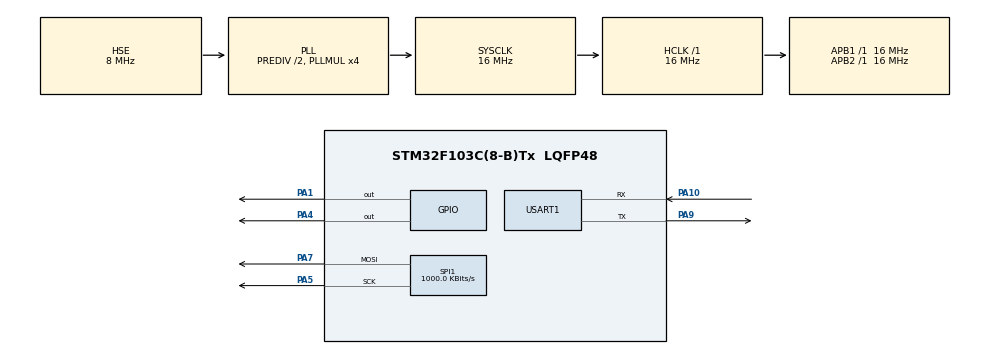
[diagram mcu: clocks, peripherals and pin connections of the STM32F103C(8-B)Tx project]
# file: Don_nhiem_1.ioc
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Mcu.Family=STM32F1
Mcu.Name=STM32F103C(8-B)Tx
Mcu.Package=LQFP48
NVIC.PriorityGroup=NVIC_PRIORITYGROUP_4
NVIC.USART1_IRQn=true\:0\:0\:false\:false\:true\:true\:true\:true
PA1.Signal=GPIO_Output
PA10.Mode=Asynchronous
PA10.Signal=USART1_RX
PA13.Mode=Serial_Wire
PA13.Signal=SYS_JTMS-SWDIO
PA14.Mode=Serial_Wire
PA14.Signal=SYS_JTCK-SWCLK
PA4.GPIO_Speed=GPIO_SPEED_FREQ_HIGH
PA4.Signal=GPIO_Output
PA5.Mode=TX_Only_Simplex_Unidirect_Master
PA5.Signal=SPI1_SCK
PA7.Mode=TX_Only_Simplex_Unidirect_Master
PA7.Signal=SPI1_MOSI
PA9.Mode=Asynchronous
PA9.Signal=USART1_TX
PD0-OSC_IN.Mode=HSE-External-Oscillator
PD0-OSC_IN.Signal=RCC_OSC_IN
PD1-OSC_OUT.Mode=HSE-External-Oscillator
PD1-OSC_OUT.Signal=RCC_OSC_OUT
ProjectManager.HeapSize=0x200
ProjectManager.StackSize=0x400
ProjectManager.TargetToolchain=STM32CubeIDE
RCC.AHBFreq_Value=16000000
RCC.APB1Freq_Value=16000000
RCC.APB1TimFreq_Value=16000000
RCC.APB2Freq_Value=16000000
RCC.APB2TimFreq_Value=16000000
RCC.HCLKFreq_Value=16000000
RCC.HSEDivPLL=RCC_HSE_PREDIV_DIV2
RCC.PLLMUL=RCC_PLL_MUL4
RCC.PLLSourceVirtual=RCC_PLLSOURCE_HSE
RCC.SYSCLKFreq_VALUE=16000000
RCC.SYSCLKSource=RCC_SYSCLKSOURCE_PLLCLK
RCC.USBFreq_Value=16000000
SPI1.BaudRatePrescaler=SPI_BAUDRATEPRESCALER_16
SPI1.CalculateBaudRate=1000.0 KBits/s
SPI1.Direction=SPI_DIRECTION_2LINES
SPI1.Mode=SPI_MODE_MASTER
SPI1.VirtualType=VM_MASTER
TIM1.Prescaler=15
USART1.VirtualMode=VM_ASYNC
VP_TIM1_VS_ClockSourceINT.Mode=Internal
board=custom

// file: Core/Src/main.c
/* USER CODE BEGIN Header */
/**
  ******************************************************************************
  * @file           : main.c
  * @brief          : Main program body
  ******************************************************************************
  * @attention
  *
  * Copyright (c) 2025 STMicroelectronics.
  * All rights reserved.
  *
  * This software is licensed under terms that can be found in the LICENSE file
  * in the root directory of this software component.
  * If no LICENSE file comes with this software, it is provided AS-IS.
  *
  ******************************************************************************
  */
/* USER CODE END Header */
#include "main.h"

/* USER CODE BEGIN Includes */
#include "stm32f1xx_hal.h"
#include "stdio.h"
#include "string.h"
/* USER CODE END Includes */

/* USER CODE BEGIN PD */
 #define DHT11_PORT  GPIOA
 #define DHT11_PIN   GPIO_PIN_1
/* USER CODE END PD */

SPI_HandleTypeDef hspi1;

TIM_HandleTypeDef htim1;

UART_HandleTypeDef huart1;

void SystemClock_Config(void);
static void MX_GPIO_Init(void);
static void MX_SPI1_Init(void);
static void MX_TIM1_Init(void);
static void MX_USART1_UART_Init(void);

/* USER CODE BEGIN 0 */
uint8_t system_running = 1;  // Biến trạng thái: 1 là chạy, 0 là dừng
uint8_t received_data;       // Biến lưu dữ liệu nhận được qua UART

void HAL_UART_RxCpltCallback(UART_HandleTypeDef *huart) {
    if (huart->Instance == USART1) {  // Kiểm tra UART1
        if (received_data == '1') {
            system_running = 1;  // Hệ thống chạy
            HAL_UART_Transmit(&huart1, (uint8_t *)" System Running\r\n", 16, HAL_MAX_DELAY);
        } else if (received_data == '0') {
            system_running = 0;  // Hệ thống dừng
            HAL_UART_Transmit(&huart1, (uint8_t *)" System Stopped\r\n", 16, HAL_MAX_DELAY);
        }
        // Tiếp tục nhận dữ liệu qua UART
        HAL_UART_Receive_IT(&huart1, &received_data, 1);
    }
}

uint8_t digit_codes[10] = {
    0xC0, // 0
    0xF9, // 1
    0xA4, // 2
    0xB0, // 3
    0x99, // 4
    0x92, // 5
    0x82, // 6
    0xF8, // 7
    0x80, // 8
    0x90  // 9
};

uint8_t dp[10] = {
    0x40, // 0
    0x79, // 1
    0x24, // 2
    0x30, // 3
    0x19, // 4
    0x12, // 5
    0x02, // 6
    0x78, // 7
    0x00, // 8
    0x10  // 9
};

void ConvertNumberToDigits(uint16_t number, uint8_t *digits){
    digits[3] = digit_codes[number % 10];
    digits[2] = digit_codes[(number / 10) % 10];
    digits[1] = dp[(number / 100) % 10];
    digits[0] = digit_codes[(number / 1000) % 10];
}

void SendToLED_SPI(uint8_t* digits){
    // LOAD xuống thấp trước khi gửi dữ liệu
    HAL_GPIO_WritePin(GPIOA, GPIO_PIN_4, GPIO_PIN_RESET);

    // Gửi lần lượt 4 byte (4 chữ số) qua SPI
    for (int i = 0; i < 4; i++){
        HAL_SPI_Transmit(&hspi1, &digits[3 - i], 1, HAL_MAX_DELAY); // Gửi byte từ trái sang phải
    }

    // LOAD lên cao để chốt dữ liệu hiển thị
    HAL_GPIO_WritePin(GPIOA, GPIO_PIN_4, GPIO_PIN_SET);
}

void delay(uint16_t time){
	 __HAL_TIM_SET_COUNTER(&htim1,0);
	 while((__HAL_TIM_GET_COUNTER(&htim1)) < time);
 }

 uint8_t R1, R2, T1, T2;
 uint16_t sum;
 float RH, TEMP;
 float Temperature = 0;
 float Humidity = 0;
 uint8_t Presence = 0;

 void SET_PIN_OUTPUT (GPIO_TypeDef *GPIOx, uint16_t GPIO_Pin){
  GPIO_InitTypeDef GPIO_InitStruct = {0};
  /*Configure GPIO pin : PA1 */
  GPIO_InitStruct.Pin = GPIO_Pin;
  GPIO_InitStruct.Mode = GPIO_MODE_OUTPUT_PP;
  GPIO_InitStruct.Pull = GPIO_NOPULL;
  GPIO_InitStruct.Speed = GPIO_SPEED_FREQ_LOW;
  HAL_GPIO_Init(GPIOA, &GPIO_InitStruct);
 }

 void SET_PIN_INPUT (GPIO_TypeDef *GPIOx, uint16_t GPIO_Pin){
	GPIO_InitTypeDef GPIO_InitStruct = {0};
  /*Configure GPIO pin : PA1 */
  GPIO_InitStruct.Pin = GPIO_Pin;
  GPIO_InitStruct.Mode = GPIO_MODE_INPUT;
  GPIO_InitStruct.Pull = GPIO_NOPULL;
  HAL_GPIO_Init(GPIOA, &GPIO_InitStruct);
 }

 void DHT11_Start (void){
 	SET_PIN_OUTPUT(DHT11_PORT, DHT11_PIN);
 	HAL_GPIO_WritePin(DHT11_PORT, DHT11_PIN, 0);
 	delay(18000);   // wait for 18ms
 	HAL_GPIO_WritePin (DHT11_PORT, DHT11_PIN, 1);
 	delay(20);
 	SET_PIN_INPUT(DHT11_PORT, DHT11_PIN);
 }

  uint8_t Check_Response (void){
 	uint8_t Response = 0;
 	delay (40);
 	if (!(HAL_GPIO_ReadPin (DHT11_PORT, DHT11_PIN))){
 		delay (80);
 		if ((HAL_GPIO_ReadPin (DHT11_PORT, DHT11_PIN))) Response = 1;
 		else Response = -1;  //255
 	}
 	while ((HAL_GPIO_ReadPin (DHT11_PORT, DHT11_PIN)));   // doi pin xung thap

 	return Response;
 }

 uint8_t DHT11_Read (void){
 	uint8_t i, j;
 	for (j=0; j<8; j++){
 		while (!(HAL_GPIO_ReadPin (DHT11_PORT, DHT11_PIN)));
 		delay (40);   // wait for 40 us, cho trong 40us, neu Readdht11 ma xuong 0 --> nhan bit 0, neu sau 40us ma chua xuong 0--> nhan bit 1
 		if (!(HAL_GPIO_ReadPin (DHT11_PORT, DHT11_PIN)))
 		{
 			i&= ~(1<<(7-j));   // write 0
 		}
 		else {
 			i|= (1<<(7-j));
 		}			// pin high , write 1
 		while ((HAL_GPIO_ReadPin (DHT11_PORT, DHT11_PIN)));
 	}
 	return i;
 }

 float Task1_Get_Temperature(void) {
	    char msg[] = "Task 1 is running\r\n";
	    HAL_UART_Transmit(&huart1, (uint8_t *)msg, strlen(msg), HAL_MAX_DELAY);
     DHT11_Start();                     // Kích hoạt giao tiếp với DHT11
     Presence = Check_Response();       // Kiểm tra phản hồi từ DHT11
         R1 = DHT11_Read();             // �?�?c phần nguyên độ ẩm
         R2 = DHT11_Read();             // �?�?c phần thập phân độ ẩm
         T1 = DHT11_Read();             // �?�?c phần nguyên nhiệt độ
         T2 = DHT11_Read();             // �?�?c phần thập phân nhiệt độ
         sum = DHT11_Read();            // �?�?c checksum để kiểm tra tính hợp lệ

         TEMP = T1 + T2 / 10.0;         // Tính nhiệt độ (phần nguyên + phần thập phân)
         return TEMP;                   // Trả v�? giá trị nhiệt độ
 }

 float Task2_Get_Humidity(void) {
	    char msg[] = "Task 2 is running\r\n";
	    HAL_UART_Transmit(&huart1, (uint8_t *)msg, strlen(msg), HAL_MAX_DELAY);

         RH = R1;
         return RH;
 }

 void Task3_Send_Temp_Humidity(UART_HandleTypeDef *huart, float Temperature, float Humidity) {
	    char msg[] = "Task 3 is running\r\n";
	    HAL_UART_Transmit(&huart1, (uint8_t *)msg, strlen(msg), HAL_MAX_DELAY);
     char buffer[50];

     // Gửi nhiệt độ
     snprintf(buffer, sizeof(buffer), "Temp: %.1f \n", Temperature);
     HAL_UART_Transmit(huart, (uint8_t *)buffer, strlen(buffer), HAL_MAX_DELAY);
     //HAL_Delay(1000);

     // Gửi độ ẩm
     snprintf(buffer, sizeof(buffer), "Hum: %.1f \n", Humidity);
     HAL_UART_Transmit(huart, (uint8_t *)buffer, strlen(buffer), HAL_MAX_DELAY);
     HAL_Delay(1000);
 }

 void Task4_Display_Temp_Humidity(float Temperature, float Humidity) {
	    char msg[] = "Task 4 is running\r\n";
	    HAL_UART_Transmit(&huart1, (uint8_t *)msg, strlen(msg), HAL_MAX_DELAY);
     uint16_t temp_humi_display;
     uint8_t digits[4]; // Mảng lưu từng chữ số

     // Chuyển đổi nhiệt độ và độ ẩm thành giá trị nguyên để hiển thị
     temp_humi_display = (uint8_t)Temperature * 100 + (uint8_t)Humidity;

     // Tách từng chữ số từ giá trị
     ConvertNumberToDigits(temp_humi_display, digits);

     // Gửi dữ liệu đến LED thông qua giao tiếp SPI
     SendToLED_SPI(digits);
 }
 void Display(float Temperature, float Humidity) {
	    //char msg[] = "Task 4 is running\r\n";
	    //HAL_UART_Transmit(&huart1, (uint8_t *)msg, strlen(msg), HAL_MAX_DELAY);
     uint16_t temp_humi_display;
     uint8_t digits[4]; // Mảng lưu từng chữ số

     // Chuyển đổi nhiệt độ và độ ẩm thành giá trị nguyên để hiển thị
     temp_humi_display = (uint8_t)Temperature * 100 + (uint8_t)Humidity;

     // Tách từng chữ số từ giá trị
     ConvertNumberToDigits(temp_humi_display, digits);

     // Gửi dữ liệu đến LED thông qua giao tiếp SPI
     SendToLED_SPI(digits);
 }
/* USER CODE END 0 */

int main(void)
{

  /* MCU Configuration--------------------------------------------------------*/

  /* Reset of all peripherals, Initializes the Flash interface and the Systick. */
  HAL_Init();

  /* Configure the system clock */
  SystemClock_Config();

  /* Initialize all configured peripherals */
  MX_GPIO_Init();
  MX_SPI1_Init();
  MX_TIM1_Init();
  MX_USART1_UART_Init();
  /* USER CODE BEGIN 2 */
  HAL_TIM_Base_Start(&htim1);
  HAL_UART_Receive_IT(&huart1, &received_data, 1);
  /* USER CODE END 2 */

  /* Infinite loop */
  while (1)
  {

    /* USER CODE BEGIN 3 */
    if (system_running) {
	  Temperature = Task1_Get_Temperature();
	  if (!system_running) continue;
	  Humidity = Task2_Get_Humidity();
	  if (!system_running) continue;
	  Task3_Send_Temp_Humidity(&huart1, Temperature, Humidity);
	  if (!system_running) continue;
	  Task4_Display_Temp_Humidity(Temperature, Humidity);
    } else {
    	Display(00, 00);
    	HAL_Delay(2000);
    }
  }
  /* USER CODE END 3 */
}

void SystemClock_Config(void)
{
  RCC_OscInitTypeDef RCC_OscInitStruct = {0};
  RCC_ClkInitTypeDef RCC_ClkInitStruct = {0};

  /** Initializes the RCC Oscillators according to the specified parameters
  * in the RCC_OscInitTypeDef structure.
  */
  RCC_OscInitStruct.OscillatorType = RCC_OSCILLATORTYPE_HSE;
  RCC_OscInitStruct.HSEState = RCC_HSE_ON;
  RCC_OscInitStruct.HSEPredivValue = RCC_HSE_PREDIV_DIV2;
  RCC_OscInitStruct.HSIState = RCC_HSI_ON;
  RCC_OscInitStruct.PLL.PLLState = RCC_PLL_ON;
  RCC_OscInitStruct.PLL.PLLSource = RCC_PLLSOURCE_HSE;
  RCC_OscInitStruct.PLL.PLLMUL = RCC_PLL_MUL4;
  if (HAL_RCC_OscConfig(&RCC_OscInitStruct) != HAL_OK)
  {
    Error_Handler();
  }

  /** Initializes the CPU, AHB and APB buses clocks
  */
  RCC_ClkInitStruct.ClockType = RCC_CLOCKTYPE_HCLK|RCC_CLOCKTYPE_SYSCLK
                              |RCC_CLOCKTYPE_PCLK1|RCC_CLOCKTYPE_PCLK2;
  RCC_ClkInitStruct.SYSCLKSource = RCC_SYSCLKSOURCE_PLLCLK;
  RCC_ClkInitStruct.AHBCLKDivider = RCC_SYSCLK_DIV1;
  RCC_ClkInitStruct.APB1CLKDivider = RCC_HCLK_DIV1;
  RCC_ClkInitStruct.APB2CLKDivider = RCC_HCLK_DIV1;

  if (HAL_RCC_ClockConfig(&RCC_ClkInitStruct, FLASH_LATENCY_0) != HAL_OK)
  {
    Error_Handler();
  }
}

static void MX_SPI1_Init(void)
{

  /* SPI1 parameter configuration*/
  hspi1.Instance = SPI1;
  hspi1.Init.Mode = SPI_MODE_MASTER;
  hspi1.Init.Direction = SPI_DIRECTION_2LINES;
  hspi1.Init.DataSize = SPI_DATASIZE_8BIT;
  hspi1.Init.CLKPolarity = SPI_POLARITY_LOW;
  hspi1.Init.CLKPhase = SPI_PHASE_1EDGE;
  hspi1.Init.NSS = SPI_NSS_SOFT;
  hspi1.Init.BaudRatePrescaler = SPI_BAUDRATEPRESCALER_16;
  hspi1.Init.FirstBit = SPI_FIRSTBIT_MSB;
  hspi1.Init.TIMode = SPI_TIMODE_DISABLE;
  hspi1.Init.CRCCalculation = SPI_CRCCALCULATION_DISABLE;
  hspi1.Init.CRCPolynomial = 10;
  if (HAL_SPI_Init(&hspi1) != HAL_OK)
  {
    Error_Handler();
  }

}

static void MX_TIM1_Init(void)
{

  TIM_ClockConfigTypeDef sClockSourceConfig = {0};
  TIM_MasterConfigTypeDef sMasterConfig = {0};

  htim1.Instance = TIM1;
  htim1.Init.Prescaler = 15;
  htim1.Init.CounterMode = TIM_COUNTERMODE_UP;
  htim1.Init.Period = 65535;
  htim1.Init.ClockDivision = TIM_CLOCKDIVISION_DIV1;
  htim1.Init.RepetitionCounter = 0;
  htim1.Init.AutoReloadPreload = TIM_AUTORELOAD_PRELOAD_DISABLE;
  if (HAL_TIM_Base_Init(&htim1) != HAL_OK)
  {
    Error_Handler();
  }
  sClockSourceConfig.ClockSource = TIM_CLOCKSOURCE_INTERNAL;
  if (HAL_TIM_ConfigClockSource(&htim1, &sClockSourceConfig) != HAL_OK)
  {
    Error_Handler();
  }
  sMasterConfig.MasterOutputTrigger = TIM_TRGO_RESET;
  sMasterConfig.MasterSlaveMode = TIM_MASTERSLAVEMODE_DISABLE;
  if (HAL_TIMEx_MasterConfigSynchronization(&htim1, &sMasterConfig) != HAL_OK)
  {
    Error_Handler();
  }

}

static void MX_USART1_UART_Init(void)
{

  huart1.Instance = USART1;
  huart1.Init.BaudRate = 115200;
  huart1.Init.WordLength = UART_WORDLENGTH_8B;
  huart1.Init.StopBits = UART_STOPBITS_1;
  huart1.Init.Parity = UART_PARITY_NONE;
  huart1.Init.Mode = UART_MODE_TX_RX;
  huart1.Init.HwFlowCtl = UART_HWCONTROL_NONE;
  huart1.Init.OverSampling = UART_OVERSAMPLING_16;
  if (HAL_UART_Init(&huart1) != HAL_OK)
  {
    Error_Handler();
  }

}

static void MX_GPIO_Init(void)
{
  GPIO_InitTypeDef GPIO_InitStruct = {0};

  /* GPIO Ports Clock Enable */
  __HAL_RCC_GPIOD_CLK_ENABLE();
  __HAL_RCC_GPIOA_CLK_ENABLE();

  /*Configure GPIO pin Output Level */
  HAL_GPIO_WritePin(GPIOA, GPIO_PIN_1|GPIO_PIN_4, GPIO_PIN_RESET);

  /*Configure GPIO pin : PA1 */
  GPIO_InitStruct.Pin = GPIO_PIN_1;
  GPIO_InitStruct.Mode = GPIO_MODE_OUTPUT_PP;
  GPIO_InitStruct.Pull = GPIO_NOPULL;
  GPIO_InitStruct.Speed = GPIO_SPEED_FREQ_LOW;
  HAL_GPIO_Init(GPIOA, &GPIO_InitStruct);

  /*Configure GPIO pin : PA4 */
  GPIO_InitStruct.Pin = GPIO_PIN_4;
  GPIO_InitStruct.Mode = GPIO_MODE_OUTPUT_PP;
  GPIO_InitStruct.Pull = GPIO_NOPULL;
  GPIO_InitStruct.Speed = GPIO_SPEED_FREQ_HIGH;
  HAL_GPIO_Init(GPIOA, &GPIO_InitStruct);

}

void Error_Handler(void)
{
  __disable_irq();
  while (1)
  {
  }
}
